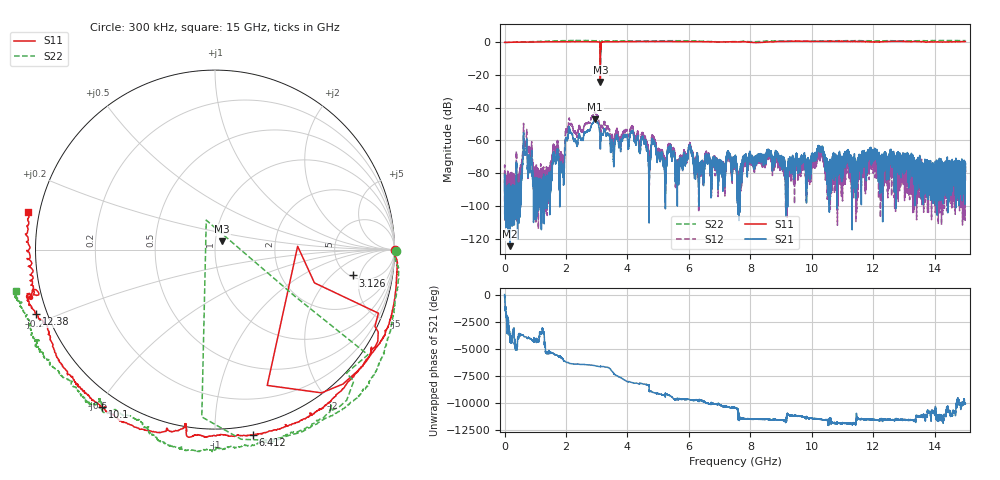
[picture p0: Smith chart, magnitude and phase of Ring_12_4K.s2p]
!Agilent Technologies,N5230C,SG49000117,A.08.50.07
!Agilent N5230C: A.08.50.07
!Date: Tuesday, May 07, 2024 23:56:19
!Correction: S11(Full 2 Port(1,2))
!S21(Full 2 Port(1,2))
!S12(Full 2 Port(1,2))
!S22(Full 2 Port(1,2))
!S2P File: Measurements: S11, S21, S12, S22:
# Hz S  MA  R 50
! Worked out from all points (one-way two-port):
!   20001 points, 300 kHz to 15 GHz, reference 50 ohm
!   highest |S21| = -46.98 dB at 2.947 GHz (marker M1); lowest = -124.7 dB at 170.5 MHz (marker M2)
!   lowest |S11| = -24.3 dB at 3.117 GHz (marker M3), VSWR 1.13, Z = 53.9 + j4.99 ohm
!   |S11| at or under -10 dB: 3.115911 GHz to 3.11809 GHz (2.18 MHz wide, 0.0699 % of centre)
!   |S22| runs from -18.4 to 1.2 dB; largest |S21 - S12| = 0.0041
!   S11 on the Smith chart (normalised r, x): 300 kHz: open; 3.126 GHz: 5.22, -3.87; 6.412 GHz: -0.07, -1.22; 10.1 GHz: -0.05, -0.51; 12.38 GHz: -0.03, -0.17; 15 GHz: -0.03, +0.10
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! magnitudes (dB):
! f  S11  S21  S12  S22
! 300 kHz  0.0  -90.7  -79.3  0.1
! 170.5 MHz  0.1  -124.7  -87.3  0.1
! 496 MHz  0.2  -92.1  -85.1  0.3
! 664.8 MHz  0.2  -68.7  -63.2  0.4
! 982 MHz  0.3  -89.2  -79.5  0.5
! 1.385 GHz  0.4  -101.5  -83.6  0.8
! 1.659 GHz  0.4  -72.5  -67.7  0.9
! 1.869 GHz  0.5  -75.5  -71.6  1.0
! 2.121 GHz  0.4  -53.4  -48.4  1.1
! 2.501 GHz  0.5  -59.8  -54.6  1.1
! 2.947 GHz  0.4  -47.0  -42.9  1.0
! 3.117 GHz  -24.3  -65.2  -66.0  -3.0
! 3.126 GHz  -2.1  -58.0  -54.3  -7.1
! 5 GHz  0.6  -68.4  -65.3  1.0
! 6.047 GHz  0.5  -64.0  -62.9  0.9
! 6.412 GHz  0.5  -73.6  -74.4  0.7
! 7.5 GHz  0.4  -69.9  -74.4  0.5
! 10 GHz  0.6  -68.5  -71.7  0.7
! 10.1 GHz  0.7  -71.4  -72.5  0.8
! 12.38 GHz  0.5  -68.3  -75.6  1.0
! 12.5 GHz  0.6  -72.4  -77.2  1.0
! 15 GHz  0.6  -74.4  -85.2  1.1
